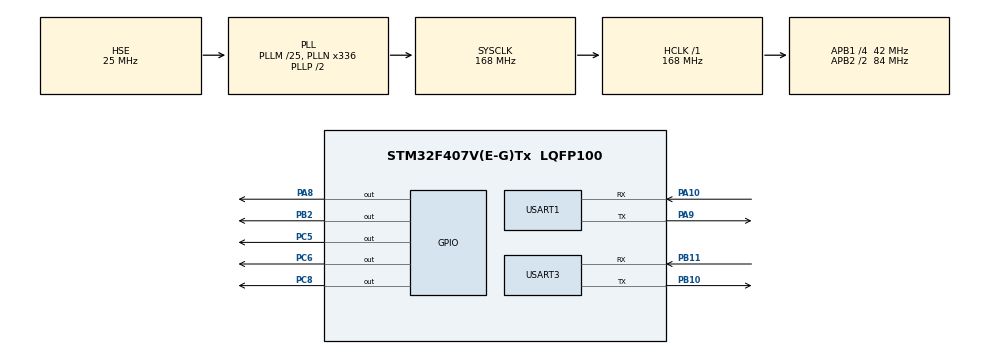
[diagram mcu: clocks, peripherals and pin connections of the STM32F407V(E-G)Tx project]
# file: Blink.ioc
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Dma.Request0=USART3_RX
Dma.USART3_RX.0.Direction=DMA_PERIPH_TO_MEMORY
Dma.USART3_RX.0.FIFOMode=DMA_FIFOMODE_DISABLE
Dma.USART3_RX.0.Instance=DMA1_Stream1
Dma.USART3_RX.0.MemDataAlignment=DMA_MDATAALIGN_BYTE
Dma.USART3_RX.0.MemInc=DMA_MINC_ENABLE
Dma.USART3_RX.0.Mode=DMA_CIRCULAR
Dma.USART3_RX.0.PeriphDataAlignment=DMA_PDATAALIGN_BYTE
Dma.USART3_RX.0.PeriphInc=DMA_PINC_DISABLE
Dma.USART3_RX.0.Priority=DMA_PRIORITY_HIGH
Mcu.Family=STM32F4
Mcu.Name=STM32F407V(E-G)Tx
Mcu.Package=LQFP100
NVIC.DMA1_Stream1_IRQn=true\:2\:0\:true\:false\:true\:false\:true\:true
NVIC.PriorityGroup=NVIC_PRIORITYGROUP_4
NVIC.TIM6_DAC_IRQn=true\:1\:0\:true\:false\:true\:true\:true\:true
NVIC.USART1_IRQn=true\:5\:0\:true\:false\:true\:true\:true\:true
NVIC.USART3_IRQn=true\:3\:0\:true\:false\:true\:true\:true\:true
PA10.Mode=Asynchronous
PA10.Signal=USART1_RX
PA13.Mode=Serial_Wire
PA13.Signal=SYS_JTMS-SWDIO
PA14.Mode=Serial_Wire
PA14.Signal=SYS_JTCK-SWCLK
PA8.Signal=GPIO_Output
PA9.Mode=Asynchronous
PA9.Signal=USART1_TX
PB10.Mode=Asynchronous
PB10.Signal=USART3_TX
PB11.Mode=Asynchronous
PB11.Signal=USART3_RX
PB2.Signal=GPIO_Output
PC5.Signal=GPIO_Output
PC6.Signal=GPIO_Output
PC8.Signal=GPIO_Output
PH0-OSC_IN.Mode=HSE-External-Oscillator
PH0-OSC_IN.Signal=RCC_OSC_IN
PH1-OSC_OUT.Mode=HSE-External-Oscillator
PH1-OSC_OUT.Signal=RCC_OSC_OUT
ProjectManager.HeapSize=0x400
ProjectManager.StackSize=0x1000
ProjectManager.TargetToolchain=CMake
RCC.48MHZClocksFreq_Value=84000000
RCC.AHBFreq_Value=168000000
RCC.APB1CLKDivider=RCC_HCLK_DIV4
RCC.APB1Freq_Value=42000000
RCC.APB1TimFreq_Value=84000000
RCC.APB2CLKDivider=RCC_HCLK_DIV2
RCC.APB2Freq_Value=84000000
RCC.APB2TimFreq_Value=168000000
RCC.CortexFreq_Value=168000000
RCC.HCLKFreq_Value=168000000
RCC.HSE_VALUE=25000000
RCC.HSI_VALUE=16000000
RCC.LSE_VALUE=32768
RCC.PLLM=25
RCC.PLLN=336
RCC.PLLSourceVirtual=RCC_PLLSOURCE_HSE
RCC.SYSCLKFreq_VALUE=168000000
RCC.SYSCLKSource=RCC_SYSCLKSOURCE_PLLCLK
RCC.VCOOutputFreq_Value=336000000
TIM6.Period=49
TIM6.Prescaler=83
USART1.VirtualMode=VM_ASYNC
USART3.VirtualMode=VM_ASYNC
VP_TIM6_VS_ClockSourceINT.Mode=Enable_Timer
board=custom

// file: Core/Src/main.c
/* USER CODE BEGIN Header */
/**
  ******************************************************************************
  * @file           : main.c
  * @brief          : Main program body
  ******************************************************************************
  */
/* USER CODE END Header */
#include "main.h"
#include "dma.h"
#include "tim.h"
#include "usart.h"
#include "gpio.h"
#include <stdio.h>

/* USER CODE BEGIN Includes */
#include "esp8266.h"
#include "motion.h"
#include "app.h"
/* USER CODE END Includes */

void SystemClock_Config(void);

/* USER CODE BEGIN 0 */
#ifdef __GNUC__
int _write(int file, char *ptr, int len) {
    HAL_UART_Transmit(&huart1, (uint8_t*)ptr, len, 100);
    return len;
}
#endif
/* USER CODE END 0 */

int main(void)
{

  /* MCU Configuration--------------------------------------------------------*/

  /* Reset of all peripherals, Initializes the Flash interface and the Systick. */
  HAL_Init();

  /* Configure the system clock */
  SystemClock_Config();

  /* Initialize all configured peripherals */
  MX_GPIO_Init();
  MX_DMA_Init();
  MX_USART1_UART_Init();
  MX_USART3_UART_Init();
  MX_TIM6_Init();
  /* USER CODE BEGIN 2 */
  Motion_Init();
  HAL_TIM_Base_Start_IT(&htim6);

  App_Init();

  Esp8266_SetDebugUart(&huart1);
  HAL_Delay(2000);
  if (!Esp8266_HwStart(&huart3)) {
      printf("ESP8266 RX start failed\r\n");
  }
  Esp8266_Init(&huart3);

  printf("P0 protocol ready\r\n");
  /* USER CODE END 2 */

  /* Infinite loop */
  while (1)
  {

    /* USER CODE BEGIN 3 */
    Esp8266_Process();
    App_Process();
  }
  /* USER CODE END 3 */
}

void SystemClock_Config(void)
{
  RCC_OscInitTypeDef RCC_OscInitStruct = {0};
  RCC_ClkInitTypeDef RCC_ClkInitStruct = {0};

  /** Configure the main internal regulator output voltage
  */
  __HAL_RCC_PWR_CLK_ENABLE();
  __HAL_PWR_VOLTAGESCALING_CONFIG(PWR_REGULATOR_VOLTAGE_SCALE1);

  /** Initializes the RCC Oscillators according to the specified parameters
  * in the RCC_OscInitTypeDef structure.
  */
  RCC_OscInitStruct.OscillatorType = RCC_OSCILLATORTYPE_HSE;
  RCC_OscInitStruct.HSEState = RCC_HSE_ON;
  RCC_OscInitStruct.PLL.PLLState = RCC_PLL_ON;
  RCC_OscInitStruct.PLL.PLLSource = RCC_PLLSOURCE_HSE;
  RCC_OscInitStruct.PLL.PLLM = 25;
  RCC_OscInitStruct.PLL.PLLN = 336;
  RCC_OscInitStruct.PLL.PLLP = RCC_PLLP_DIV2;
  RCC_OscInitStruct.PLL.PLLQ = 4;
  if (HAL_RCC_OscConfig(&RCC_OscInitStruct) != HAL_OK)
  {
    Error_Handler();
  }

  /** Initializes the CPU, AHB and APB buses clocks
  */
  RCC_ClkInitStruct.ClockType = RCC_CLOCKTYPE_HCLK|RCC_CLOCKTYPE_SYSCLK
                              |RCC_CLOCKTYPE_PCLK1|RCC_CLOCKTYPE_PCLK2;
  RCC_ClkInitStruct.SYSCLKSource = RCC_SYSCLKSOURCE_PLLCLK;
  RCC_ClkInitStruct.AHBCLKDivider = RCC_SYSCLK_DIV1;
  RCC_ClkInitStruct.APB1CLKDivider = RCC_HCLK_DIV4;
  RCC_ClkInitStruct.APB2CLKDivider = RCC_HCLK_DIV2;

  if (HAL_RCC_ClockConfig(&RCC_ClkInitStruct, FLASH_LATENCY_5) != HAL_OK)
  {
    Error_Handler();
  }
}

void Error_Handler(void)
{
  __disable_irq();
  while (1)
  {
  }
}
